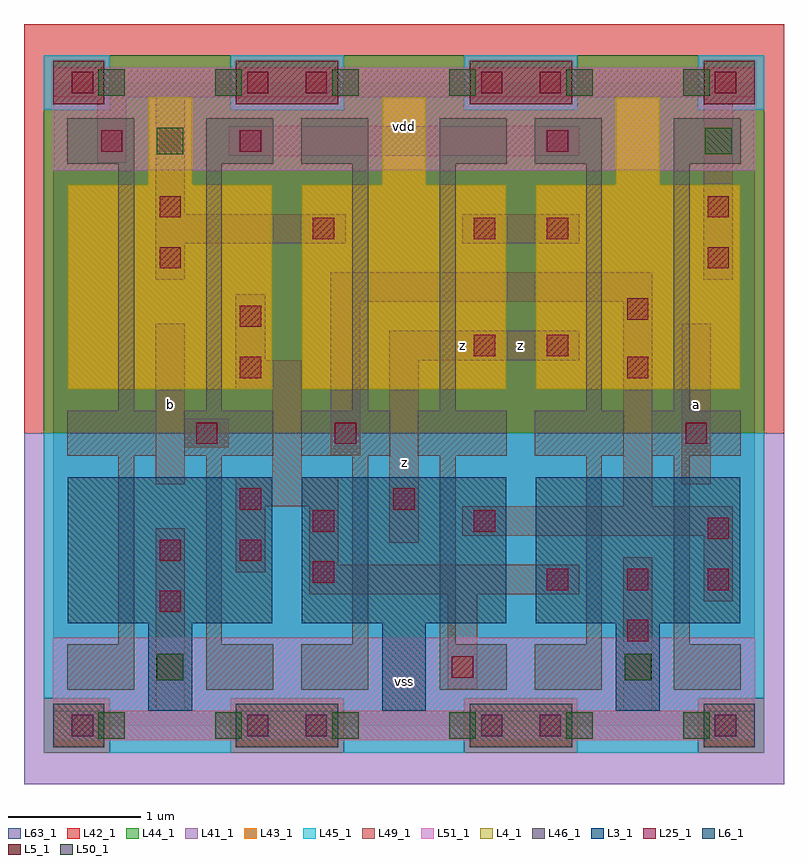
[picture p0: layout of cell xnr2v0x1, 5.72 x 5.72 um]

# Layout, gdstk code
import gdstk
lib = gdstk.Library(unit=1e-6, precision=1e-09)
def R(c, l, rs):  # rectangles x0, y0, x1, y1
    for r in rs: c.add(gdstk.rectangle(r[:2], r[2:], *l))
def A(c, l, x, y, w, h, nx, ny, dx, dy):  # array of equal rectangles
    R(c, l, [(x+i*dx, y+j*dy, x+i*dx+w, y+j*dy+h) for i in range(nx) for j in range(ny)])
L3_1 = (3, 1)
L4_1 = (4, 1)
L5_1 = (5, 1)
L6_1 = (6, 1)
L25_1 = (25, 1)
L41_1 = (41, 1)
L42_1 = (42, 1)
L43_1 = (43, 1)
L44_1 = (44, 1)
L45_1 = (45, 1)
L46_1 = (46, 1)
L49_1 = (49, 1)
L50_1 = (50, 1)
L51_1 = (51, 1)
L63_1 = (63, 1)

xnr2v0x1 = lib.new_cell('xnr2v0x1')
A(xnr2v0x1, L3_1, 0.715, 0.11, 0.33, 0.66, 3, 1, 1.76, 0)
A(xnr2v0x1, L3_1, 0.11, 0.77, 1.54, 1.1, 3, 1, 1.76, 0)
A(xnr2v0x1, L4_1, 0.11, 2.53, 1.54, 1.54, 3, 1, 1.76, 0)
A(xnr2v0x1, L4_1, 0.715, 4.07, 0.33, 0.66, 3, 1, 1.76, 0)
R(xnr2v0x1, L5_1, [(0,4.675,0.385,5.005), (1.375,4.675,2.145,5.005), (3.135,4.675,3.905,5.005), (4.895,4.675,5.28,5.005)])
R(xnr2v0x1, L6_1, [(0,-0.165,0.385,0.165), (1.375,-0.165,2.145,0.165), (3.135,-0.165,3.905,0.165), (4.895,-0.165,5.28,0.165)])
A(xnr2v0x1, L25_1, 3.715, 1.02, 0.16, 0.16, 3, 1, 0.605, 0)
R(xnr2v0x1, L25_1, [(0.14,-0.08,0.3,0.08), (1.46,-0.08,1.62,0.08), (1.9,-0.08,2.06,0.08), (3.22,-0.08,3.38,0.08), (3.66,-0.08,3.82,0.08), (4.98,-0.08,5.14,0.08), (3,0.36,3.16,0.52), (4.32,0.635,4.48,0.795), (0.8,0.855,0.96,1.015), (1.955,1.075,2.115,1.235), (0.8,1.24,0.96,1.4), (1.405,1.24,1.565,1.4), (4.925,1.405,5.085,1.565), (1.955,1.46,2.115,1.62), (3.165,1.46,3.325,1.62), (1.405,1.625,1.565,1.785), (2.56,1.625,2.72,1.785), (1.075,2.12,1.235,2.28), (2.12,2.12,2.28,2.28), (4.76,2.12,4.92,2.28), (1.405,2.615,1.565,2.775), (4.32,2.615,4.48,2.775), (3.165,2.78,3.325,2.94), (3.715,2.78,3.875,2.94), (1.405,3,1.565,3.16), (4.32,3.055,4.48,3.215), (0.8,3.44,0.96,3.6), (4.925,3.44,5.085,3.6), (1.955,3.66,2.115,3.82), (3.165,3.66,3.325,3.82), (3.715,3.66,3.875,3.82), (0.8,3.825,0.96,3.985), (4.925,3.825,5.085,3.985), (0.36,4.32,0.52,4.48), (1.405,4.32,1.565,4.48), (3.715,4.32,3.875,4.48), (0.14,4.76,0.3,4.92), (1.46,4.76,1.62,4.92), (1.9,4.76,2.06,4.92), (3.22,4.76,3.38,4.92), (3.66,4.76,3.82,4.92), (4.98,4.76,5.14,4.92)])
R(xnr2v0x1, L41_1, [(-0.22,-0.44,5.5,2.2)])
R(xnr2v0x1, L42_1, [(-0.22,2.2,5.5,5.28)])
A(xnr2v0x1, L43_1, 0.715, 0.11, 0.33, 0.66, 3, 2, 1.76, 3.96)
A(xnr2v0x1, L43_1, 0.11, 0.77, 1.54, 1.1, 3, 1, 1.76, 0)
A(xnr2v0x1, L43_1, 0.11, 2.53, 1.54, 1.54, 3, 1, 1.76, 0)
R(xnr2v0x1, L43_1, [(0,-0.165,0.385,0.165), (1.375,-0.165,2.145,0.165), (3.135,-0.165,3.905,0.165), (4.895,-0.165,5.28,0.165), (0,4.675,0.385,5.005), (1.375,4.675,2.145,5.005), (3.135,4.675,3.905,5.005), (4.895,4.675,5.28,5.005)])
A(xnr2v0x1, L44_1, 0.425, 4.635, 0.91, 0.41, 3, 1, 1.76, 0)
R(xnr2v0x1, L44_1, [(-0.07,-0.205,0.425,0.205), (1.335,-0.205,2.185,0.205), (3.095,-0.205,3.945,0.205), (4.855,-0.205,5.35,0.205), (-0.07,2.2,5.35,4.635)])
A(xnr2v0x1, L45_1, 0.425, -0.205, 0.91, 0.41, 3, 1, 1.76, 0)
R(xnr2v0x1, L45_1, [(-0.07,0.205,5.35,2.2), (-0.07,4.635,0.425,5.045), (1.335,4.635,2.185,5.045), (3.095,4.635,3.945,5.045), (4.855,4.635,5.35,5.045)])
A(xnr2v0x1, L46_1, 0.105, 2.03, 0.67, 0.34, 6, 1, 0.88, 0)
R(xnr2v0x1, L46_1, [(0.105,0.27,0.61,0.61), (1.15,0.27,1.655,0.61), (1.865,0.27,2.37,0.61), (2.91,0.27,3.415,0.61), (3.625,0.27,4.13,0.61), (4.67,0.27,5.175,0.61), (0.49,0.61,0.61,2.03), (1.15,0.61,1.27,2.03), (2.25,0.61,2.37,2.03), (2.91,0.61,3.03,2.03), (4.01,0.61,4.13,2.03), (4.67,0.61,4.79,2.03), (0.49,2.37,0.61,4.23), (1.15,2.37,1.27,4.23), (2.25,2.37,2.37,4.23), (2.91,2.37,3.03,4.23), (4.01,2.37,4.13,4.23), (4.67,2.37,4.79,4.23), (0.105,4.23,0.61,4.57), (1.15,4.23,1.655,4.57), (1.865,4.23,2.37,4.57), (2.91,4.23,3.415,4.57), (3.625,4.23,4.13,4.57), (4.67,4.23,5.175,4.57)])
R(xnr2v0x1, L49_1, [(0,-0.11,5.28,0.11), (0.77,0.11,0.99,1.485), (4.29,0.11,4.51,1.265), (2.97,0.275,3.19,0.99), (4.895,0.935,5.115,1.43), (1.925,0.99,3.96,1.21), (1.375,1.155,1.595,1.65), (1.925,1.21,2.145,1.65), (2.53,1.375,2.75,2.75), (3.08,1.43,5.115,1.65), (1.375,1.65,2.145,1.87), (4.29,1.65,4.51,3.19), (0.77,1.815,0.99,2.09), (4.73,1.815,4.95,3.025), (1.65,1.87,1.87,2.53), (2.09,2.035,2.31,3.19), (0.77,2.09,1.32,2.31), (0.77,2.31,0.99,3.025), (1.375,2.53,1.87,2.75), (1.375,2.75,1.595,3.245), (2.53,2.75,3.96,2.97), (2.09,3.19,4.51,3.41), (0.77,3.355,0.99,3.63), (4.895,3.355,5.115,4.73), (0.77,3.63,2.2,3.85), (3.08,3.63,3.96,3.85), (0.77,3.85,0.99,4.73), (0.33,4.235,0.55,4.73), (1.32,4.29,3.96,4.51), (0,4.73,5.28,4.95)])
A(xnr2v0x1, L50_1, 0.34, -0.1, 0.2, 0.2, 6, 2, 0.88, 4.84)
R(xnr2v0x1, L50_1, [(0.78,0.34,0.98,0.54), (4.3,0.34,4.5,0.54), (0.78,4.3,0.98,4.5), (4.905,4.3,5.105,4.5)])
R(xnr2v0x1, L51_1, [(0,-0.11,5.28,0.66), (0,4.18,5.28,4.95)])
R(xnr2v0x1, L63_1, [(0,0,5.28,4.84)])
xnr2v0x1.add(gdstk.Label('b', (0.88,2.42), layer=49, texttype=1))
xnr2v0x1.add(gdstk.Label('z', (2.64,1.98), layer=49, texttype=1))
xnr2v0x1.add(gdstk.Label('z', (3.52,2.86), layer=49, texttype=1))
xnr2v0x1.add(gdstk.Label('z', (3.08,2.86), layer=49, texttype=1))
xnr2v0x1.add(gdstk.Label('a', (4.84,2.42), layer=49, texttype=1))
xnr2v0x1.add(gdstk.Label('vss', (2.64,0.33), layer=51, texttype=1))
xnr2v0x1.add(gdstk.Label('vdd', (2.64,4.51), layer=51, texttype=1))

lib.write_gds('xnr2v0x1.gds')
